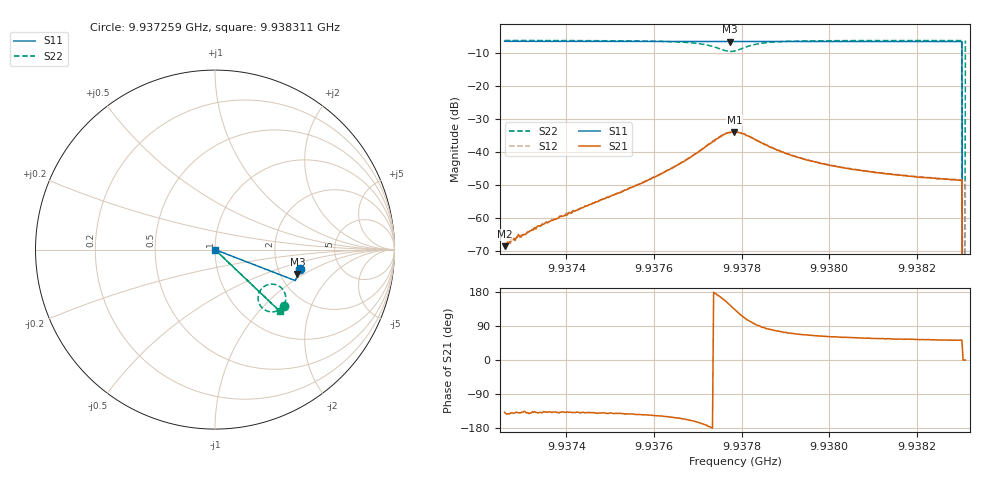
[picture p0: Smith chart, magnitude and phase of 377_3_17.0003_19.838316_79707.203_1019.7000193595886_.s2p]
#  HZ  S  RI  R  50.00
! Rohde & Schwarz Vector Network Analyzer
! Rohde-Schwarz,ZNB20-2Port,1311601062101988,3.16
! Created: UTC 3/20/2024, 11:08:59 PM
! freq[Hz]  re:S11  im:S11  re:S21  im:S21  re:S12  im:S12  re:S22  im:S22
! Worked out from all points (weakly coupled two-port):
!   400 points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, 9.937259 GHz to 9.938311 GHz, reference 50 ohm
!   highest |S21| = -33.90 dB at 9.937784 GHz (marker M1); lowest = -68.6 dB at 9.937259 GHz (marker M2)
!   lowest |S11| = -6.4 dB at 9.937773 GHz (marker M3), VSWR 2.84, Z = 123 - j44.3 ohm
!   |S11| at or under -10 dB: 9.938303 GHz to end of sweep
!   |S22| runs from - to -6.1 dB; largest |S21 - S12| = 0.0037
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9.9372587e9  0.472 -0.1055  -0.000274 -0.000248  -0.000318 -0.000208  0.3866 -0.3139
9.9372719e9  0.4717 -0.1064  -0.000344 -0.000288  -0.000313 -0.000254  0.3857 -0.315
9.9372745e9  0.4717 -0.1066  -0.000361 -0.000311  -0.000343 -0.000316  0.3854 -0.3151
9.9372824e9  0.4715 -0.1072  -0.000343 -0.000292  -0.00038 -0.00029  0.3848 -0.3155
9.9372903e9  0.4713 -0.1077  -0.000424 -0.000364  -0.0004 -0.000322  0.3843 -0.3162
9.9372956e9  0.4713 -0.1081  -0.000386 -0.000329  -0.000393 -0.000372  0.384 -0.3166
9.9373273e9  0.4705 -0.1102  -0.000511 -0.000494  -0.000545 -0.000443  0.3817 -0.3188
9.9373299e9  0.4705 -0.1105  -0.000505 -0.00045  -0.000525 -0.000478  0.3812 -0.3191
9.9374354e9  0.4685 -0.1173  -0.00105 -0.000935  -0.00109 -0.000936  0.3713 -0.3273
9.9376095e9  0.4644 -0.1293  -0.0037 -0.0024  -0.00381 -0.00237  0.3402 -0.3436
9.9377177e9  0.4609 -0.1364  -0.0119 -0.00182  -0.0121 -0.00157  0.2717 -0.3322
9.9377731e9  0.4587 -0.1384  -0.0161 0.0113  -0.0162 0.012  0.2542 -0.2249
9.9377836e9  0.4587 -0.1387  -0.0139 0.0146  -0.0138 0.0152  0.2772 -0.2037
9.9377863e9  0.4589 -0.1387  -0.0132 0.0152  -0.0129 0.0159  0.2839 -0.1999
9.9378443e9  0.4589 -0.1423  0.000494 0.0139  0.000765 0.0141  0.3853 -0.2336
9.9378918e9  0.4582 -0.1458  0.00261 0.00972  0.00293 0.00964  0.3945 -0.272
9.9379604e9  0.4566 -0.1506  0.00307 0.00657  0.00326 0.00656  0.3893 -0.2998
9.9381371e9  0.452 -0.1623  0.00259 0.00385  0.0027 0.00385  0.3724 -0.3284
9.9383033e9  0.4473 -0.1728  0.00228 0.00298  0.00238 0.00291  0.3602 -0.3424
9.9383059e9  0 0  0 0  0 0  0 0
9.9383086e9  0 0  0 0  0 0  0 0
9.9383112e9  0 0  0 0  0.00235 0.0029  0.3598 -0.3431
